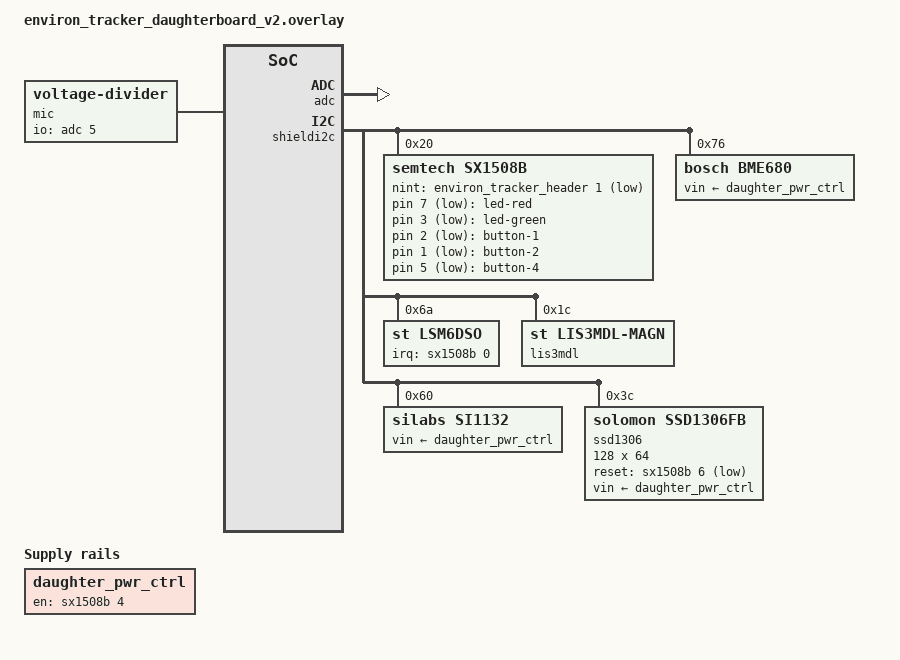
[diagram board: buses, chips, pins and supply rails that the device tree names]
/ {
    chosen {
        zephyr,display = &ssd1306;
    };

    aliases {
        led0 = &led0;
        sw0 = &button1;
        sw1 = &button2;
        sw2 = &button4;
    };

    // NOTE: this may not be the best way to offset the gain
    mic {
        compatible = "voltage-divider";
        io-channels = <&adc 5>;
        output-ohms = <10000>;
        full-ohms = <(10000 + 52200)>;
    };

    leds {
        compatible = "gpio-leds";

        led0: led_red {
            gpios = <&sx1508b 7 GPIO_ACTIVE_LOW>;
            label = "led-red";
        };

        led1: led_green {
            gpios = <&sx1508b 3 GPIO_ACTIVE_LOW>;
            label = "led-green";
        };
    };

    buttons {
        compatible = "gpio-keys";

        button1: button_1 {
            gpios = <&sx1508b 2 (GPIO_PULL_UP | GPIO_ACTIVE_LOW)>;
            label = "button-1";
        };
        
        button2: button_2 {
            gpios = <&sx1508b 1 (GPIO_PULL_UP | GPIO_ACTIVE_LOW)>;
            label = "button-2";
        };
        
        button4: button_4 {
            gpios = <&sx1508b 5 (GPIO_PULL_UP | GPIO_ACTIVE_LOW)>;
            label = "button-4";
        };
    };

    daughter_pwr_ctrl: daughter-vdd-pwr-ctrl {
        compatible = "regulator-fixed";
        regulator-name = "daughter-pwr-ctrl";
        enable-gpios = <&sx1508b 4 GPIO_ACTIVE_HIGH>;
        regulator-boot-on;
    };
};

&adc {
    status = "okay";
};

&shieldi2c {
    status = "okay";
    zephyr,concat-buf-size = <2048>;

    sx1508b: sx1508b@20 {
        compatible = "semtech,sx1508b";
        reg = <0x20>;
        gpio-controller;
        #gpio-cells = <2>;
        ngpios = <8>;
        nint-gpios = <&environ_tracker_header 1 (GPIO_PULL_UP | GPIO_ACTIVE_LOW)>;
        /* Init all outputs to high except for red led */
        init-out-high = <0xfe>;
        init-out-low = <0x00>;
    };

    bme680: bme680@76 {
        compatible = "bosch,bme680";
        reg = <0x76>;
        vin-supply = <&daughter_pwr_ctrl>;
    };

    lsm6dso: lsm6dso@6a {
        compatible = "st,lsm6dso";
        reg = <0x6a>;
        accel-pm = <1>;
        accel-range = <0>;
        accel-odr = <3>;
        gyro-pm = <1>;
        gyro-range = <0>;
        gyro-odr = <3>;
        irq-gpios = <&sx1508b 0 GPIO_ACTIVE_HIGH>;
    };
    
    lis3mdl: lis3mdl@1c {
        compatible = "st,lis3mdl-magn";
        reg = <0x1c>;
    };

    si1132: si1132@60 {
        compatible = "silabs,si1132";
        reg = <0x60>;
        vin-supply = <&daughter_pwr_ctrl>;
    };

    ssd1306: ssd1306@3c {
        compatible = "solomon,ssd1306fb";
        reg = <0x3c>;
        vin-supply = <&daughter_pwr_ctrl>;
        height = <64>;
        width = <128>;
        segment-offset = <0>;
        page-offset = <0>;
        display-offset = <0>;
        multiplex-ratio = <63>;
        prechargep = <0x22>;
        segment-remap;
        com-invdir;
        reset-gpios = <&sx1508b 6 (GPIO_PULL_UP | GPIO_ACTIVE_LOW)>;
    };
};
